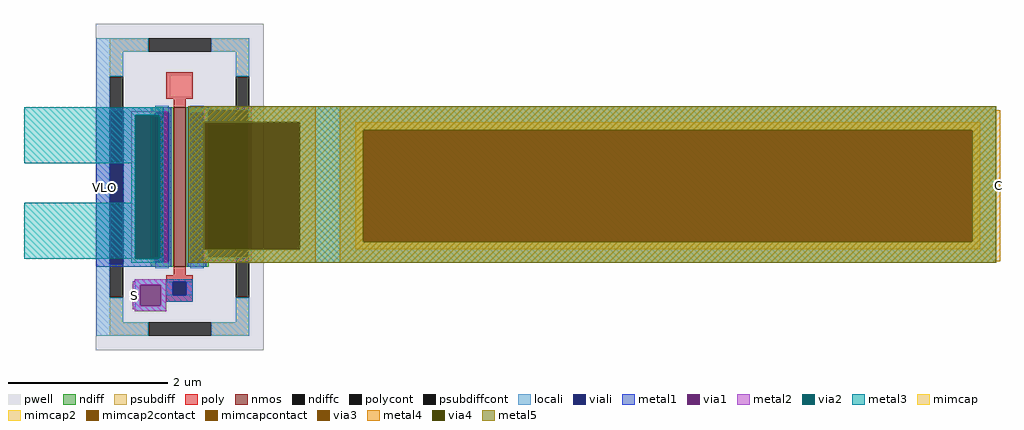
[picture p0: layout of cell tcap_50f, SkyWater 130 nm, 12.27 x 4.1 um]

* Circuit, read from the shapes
.subckt tcap_50f C S VLO
XM1 n1 S VLO VLO sky130_fd_pr__nfet_01v8 w=2 l=0.15
XC2 C n1 sky130_fd_pr__cap_mim_m3_1 w=7.85 l=1.6
XC3 n1 C sky130_fd_pr__cap_mim_m3_2 w=7.85 l=1.6
.ends

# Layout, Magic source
magic
tech sky130A
magscale 1 2
<< pwell >>
rect -53 637 369 767
rect -53 584 135 637
rect 189 584 369 637
rect -53 -53 369 584
<< nmos >>
rect 143 157 173 557
<< ndiff >>
rect 85 545 143 557
rect 85 169 97 545
rect 131 169 143 545
rect 85 157 143 169
rect 173 545 231 557
rect 173 169 185 545
rect 219 169 231 545
rect 173 157 231 169
<< ndiffc >>
rect 97 169 131 545
rect 185 169 219 545
<< psubdiff >>
rect -17 697 79 731
rect 237 697 333 731
rect -17 635 17 697
rect 299 635 333 697
rect -17 17 17 79
rect 299 17 333 79
rect -17 -17 79 17
rect 237 -17 333 17
<< psubdiffcont >>
rect 79 697 237 731
rect -17 79 17 635
rect 299 79 333 635
rect 79 -17 237 17
<< poly >>
rect 125 579 191 645
rect 143 557 173 579
rect 143 135 173 157
rect 125 119 191 135
rect 125 85 141 119
rect 175 85 191 119
rect 125 69 191 85
<< polycont >>
rect 141 85 175 119
<< locali >>
rect -51 697 79 731
rect 237 697 333 731
rect -51 635 17 697
rect -51 79 -17 635
rect 299 635 333 697
rect 97 545 131 561
rect 97 153 131 169
rect 185 545 219 561
rect 185 153 219 169
rect 125 85 141 119
rect 175 85 191 119
rect -51 17 17 79
rect 299 17 333 79
rect -51 -17 79 17
rect 237 -17 333 17
<< viali >>
rect -17 163 17 551
rect 97 169 131 545
rect 185 169 219 545
rect 141 85 175 119
<< metal1 >>
rect 220 557 340 560
rect -51 551 137 557
rect -51 163 -17 551
rect 17 545 137 551
rect 17 537 97 545
rect 17 177 47 537
rect 17 169 97 177
rect 131 169 137 545
rect 17 163 137 169
rect -51 157 137 163
rect 179 550 340 557
rect 179 545 230 550
rect 179 169 185 545
rect 219 180 230 545
rect 330 180 340 550
rect 219 170 340 180
rect 219 169 225 170
rect 179 157 225 169
rect 45 119 191 125
rect 45 111 141 119
rect 45 59 59 111
rect 111 85 141 111
rect 175 85 191 119
rect 111 69 191 85
rect 111 59 125 69
rect 45 45 125 59
<< via1 >>
rect 47 177 97 537
rect 97 177 117 537
rect 230 180 330 550
rect 59 59 111 111
<< metal2 >>
rect 220 550 340 560
rect 37 537 127 547
rect 37 177 47 537
rect 117 177 127 537
rect 37 167 127 177
rect 220 180 230 550
rect 330 180 340 550
rect 220 170 340 180
rect 45 120 125 125
rect 40 111 125 120
rect 40 59 59 111
rect 111 59 125 111
rect 40 50 125 59
rect 45 45 125 50
<< via2 >>
rect 47 177 107 537
rect 230 180 330 550
<< metal3 >>
rect -233 537 117 557
rect -233 417 47 537
rect 37 317 47 417
rect -233 177 47 317
rect 107 177 117 537
rect 37 167 117 177
rect 180 550 2210 560
rect 180 520 230 550
rect 330 520 2210 550
rect 180 200 220 520
rect 460 200 2210 520
rect 180 180 230 200
rect 330 180 2210 200
rect 180 166 2210 180
<< via3 >>
rect 220 200 230 520
rect 230 200 330 520
rect 330 200 460 520
<< mimcap >>
rect 600 500 2170 520
rect 600 220 620 500
rect 2150 220 2170 500
rect 600 200 2170 220
<< mimcapcontact >>
rect 620 220 2150 500
<< metal4 >>
rect 180 520 500 560
rect 180 200 220 520
rect 460 200 500 520
rect 180 166 500 200
rect 560 550 2210 560
rect 560 500 2220 550
rect 560 220 620 500
rect 2150 220 2220 500
rect 560 170 2220 220
rect 560 166 2210 170
<< via4 >>
rect 220 200 460 520
<< mimcap2 >>
rect 600 500 2170 520
rect 600 220 620 500
rect 2150 220 2170 500
rect 600 200 2170 220
<< mimcap2contact >>
rect 620 220 2150 500
<< metal5 >>
rect 180 520 2210 560
rect 180 200 220 520
rect 460 500 2210 520
rect 460 220 620 500
rect 2150 220 2210 500
rect 460 200 2210 220
rect 180 166 2210 200
<< labels >>
rlabel metal1 -40 160 -20 550 1 VLO
rlabel metal2 40 50 50 120 1 S
rlabel metal4 2210 170 2220 550 7 C
<< end >>
